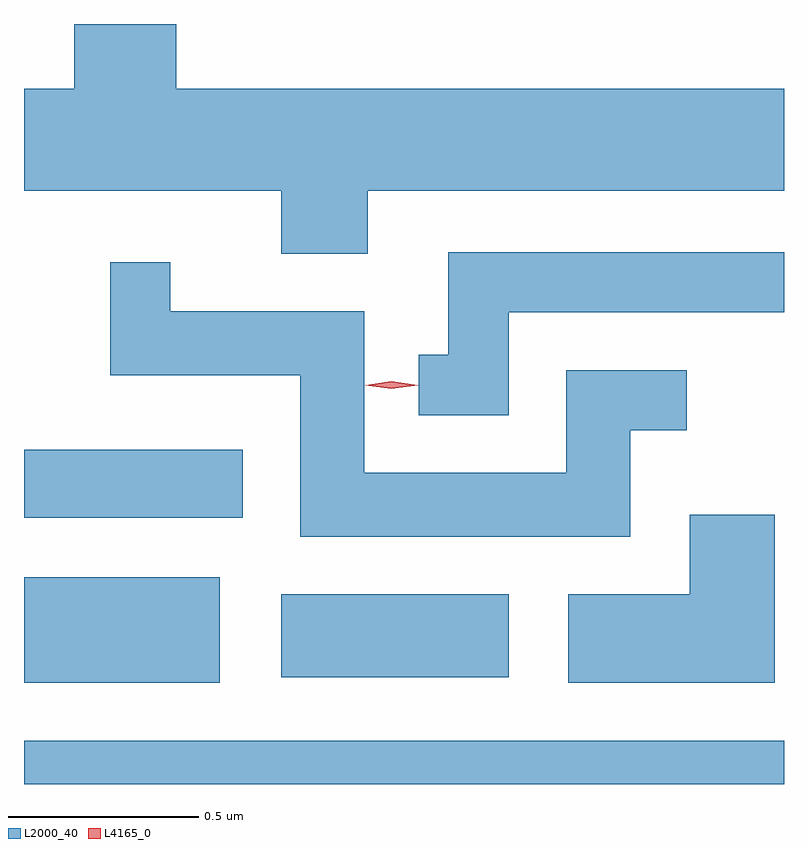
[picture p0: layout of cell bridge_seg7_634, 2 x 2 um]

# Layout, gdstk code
import gdstk
lib = gdstk.Library(unit=1e-6, precision=1e-09)
def R(c, l, rs):  # rectangles x0, y0, x1, y1
    for r in rs: c.add(gdstk.rectangle(r[:2], r[2:], *l))
def P(c, l, *ps):  # polygons
    for p in ps: c.add(gdstk.Polygon(p, *l))
L2000_40 = (2000, 40)
L4165_0 = (4165, 0)

bridge_seg7_634 = lib.new_cell('bridge_seg7_634')
R(bridge_seg7_634, L2000_40, [(794.364,1717.195,796.364,1717.309), (794.364,1717.461,794.879,1717.739), (795.041,1717.476,795.639,1717.694), (794.364,1717.896,794.939,1718.074)])
P(bridge_seg7_634, L2000_40, [(795.269,1718.756),(796.364,1718.756),(796.364,1719.024),(794.764,1719.024),(794.764,1719.195),(794.496,1719.195),(794.496,1719.024),(794.364,1719.024),(794.364,1718.756),(795.041,1718.756),(795.041,1718.591),(795.269,1718.591)],
  [(795.639,1718.436),(796.364,1718.436),(796.364,1718.594),(795.481,1718.594),(795.481,1718.324),(795.403,1718.324),(795.403,1718.166),(795.639,1718.166)],
  [(795.959,1718.126),(796.108,1718.126),(796.108,1718.284),(795.791,1718.284),(795.791,1718.014),(795.259,1718.014),(795.259,1718.439),(794.749,1718.439),(794.749,1718.568),(794.591,1718.568),(794.591,1718.271),(795.091,1718.271),(795.091,1717.846),(795.959,1717.846)],
  [(796.339,1717.904),(796.116,1717.904),(796.116,1717.694),(795.796,1717.694),(795.796,1717.461),(796.339,1717.461)])
P(bridge_seg7_634, L4165_0, [(795.331,1718.235),(795.262,1718.244),(795.262,1718.244),(795.262,1718.245),(795.331,1718.255),(795.401,1718.245),(795.401,1718.245),(795.401,1718.244)])

lib.write_gds('bridge_seg7_634.gds')
